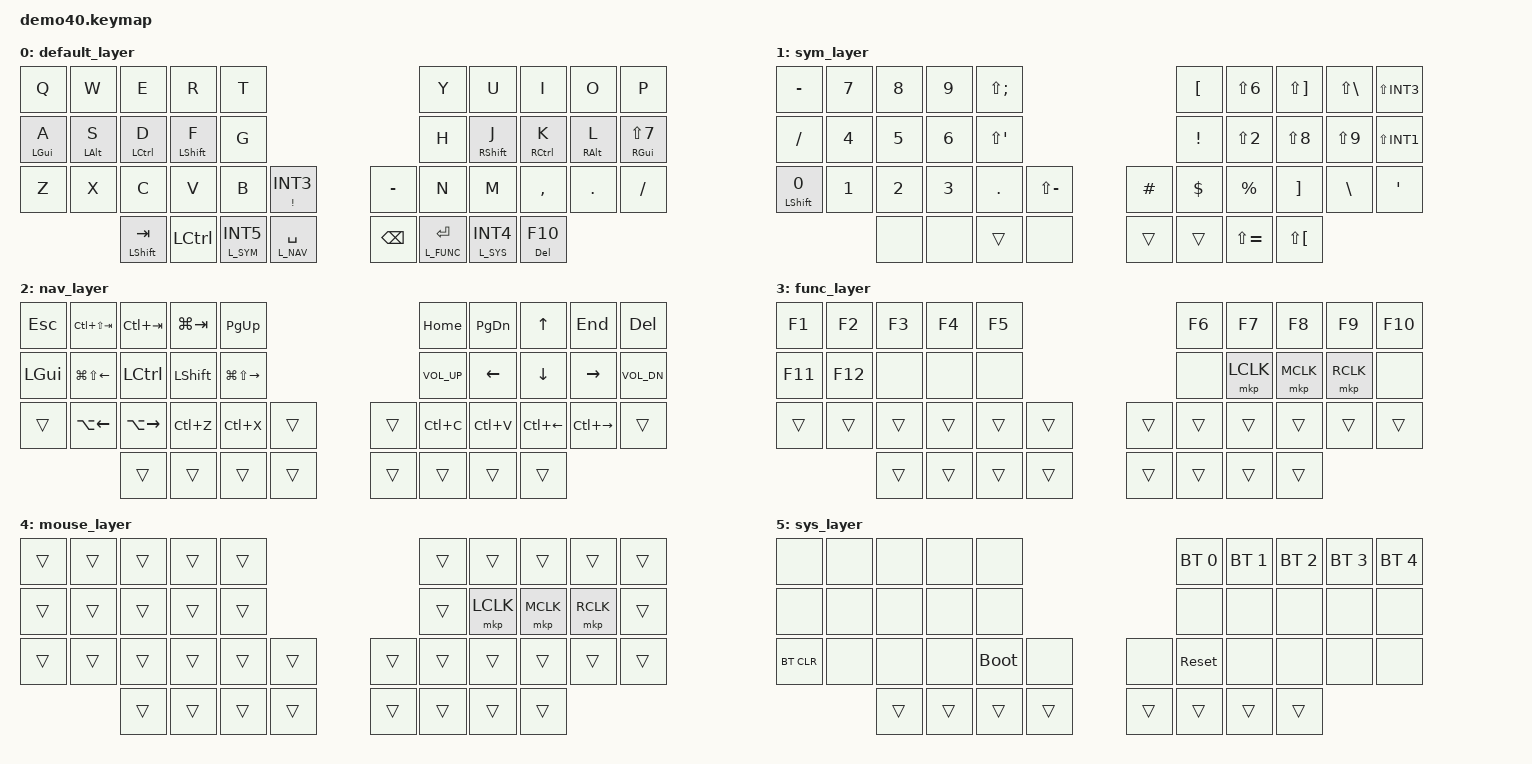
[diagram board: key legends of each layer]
/*
 * Demo keymap for the ZMK Keymap Overlay tests.
 * Written for this repository (MIT). The keyboard is made up: see boards/shields/demo40.
 *
 * It mixes the things real keymaps do, so the parser meets them together:
 * home-row mods, plain hold-taps, layer-taps with named layers, Japanese (JIS) aliases,
 * nested modifier functions, Bluetooth and boot keys, combos limited to a layer,
 * and a layer that no key enters (a pointing device turns it on).
 */

#include <behaviors.dtsi>
#include <dt-bindings/zmk/bt.h>
#include <dt-bindings/zmk/keys.h>
#include <dt-bindings/zmk/pointing.h>

#define L_BASE  0
#define L_SYM   1   // symbols and numbers  (thumb, pos 34)
#define L_NAV   2   // cursor and editing   (thumb, pos 35)
#define L_FUNC  3   // function keys        (thumb, pos 37)
#define L_MOUSE 4   // clicks; turned on by a pointing device, not by a key
#define L_SYS   5   // bluetooth and boot   (thumb, pos 38)

/* JIS: the keyboard sends US key positions; these are the keys that type each symbol on a JIS PC. */
#define JP_AT    LBKT
#define JP_LBKT  RBKT
#define JP_RBKT  BSLH
#define JP_COLON SQT
#define JP_YEN   INT3
#define JP_PLUS  LS(SEMI)
#define JP_ASTR  LS(SQT)
#define JP_DQT   LS(N2)
#define JP_AMPS  LS(N6)
#define JP_QUOT  LS(N7)
#define JP_LPAR  LS(N8)
#define JP_RPAR  LS(N9)
#define JP_EQUAL LS(MINUS)
#define JP_TILDE LS(EQUAL)
#define JP_GRAVE LS(LBKT)
#define JP_LBRC  LS(RBKT)
#define JP_RBRC  LS(BSLH)
#define JP_UNDER LS(INT1)
#define JP_PIPE  LS(INT3)

/* Key positions, for hold-trigger-key-positions. */
#define KEYS_L 0 1 2 3 4 10 11 12 13 14 20 21 22 23 24 25
#define KEYS_R 5 6 7 8 9 15 16 17 18 19 26 27 28 29 30 31
#define THUMBS 32 33 34 35 36 37 38 39

/ {
    behaviors {
        hml: home_row_mod_left {
            compatible = "zmk,behavior-hold-tap";
            #binding-cells = <2>;
            flavor = "balanced";
            tapping-term-ms = <280>;
            quick-tap-ms = <175>;
            require-prior-idle-ms = <150>;
            hold-trigger-key-positions = <KEYS_R THUMBS>;
            hold-trigger-on-release;
            bindings = <&kp>, <&kp>;
        };

        hmr: home_row_mod_right {
            compatible = "zmk,behavior-hold-tap";
            #binding-cells = <2>;
            flavor = "balanced";
            tapping-term-ms = <280>;
            quick-tap-ms = <175>;
            require-prior-idle-ms = <150>;
            hold-trigger-key-positions = <KEYS_L THUMBS>;
            hold-trigger-on-release;
            bindings = <&kp>, <&kp>;
        };

        htp: hold_tap_plain {
            compatible = "zmk,behavior-hold-tap";
            #binding-cells = <2>;
            flavor = "hold-preferred";
            tapping-term-ms = <200>;
            bindings = <&kp>, <&kp>;
        };
    };

    combos {
        compatible = "zmk,combos";

        combo_caps_word {
            timeout-ms = <50>;
            key-positions = <13 16>;
            bindings = <&caps_word>;
        };

        combo_esc {
            timeout-ms = <50>;
            key-positions = <21 22>;
            bindings = <&kp ESC>;
        };

        combo_left_bracket {
            timeout-ms = <50>;
            key-positions = <26 27>;
            bindings = <&kp JP_LBKT>;
            layers = <L_BASE>;
        };

        combo_right_bracket {
            timeout-ms = <50>;
            key-positions = <30 31>;
            bindings = <&kp JP_RBKT>;
            layers = <L_BASE>;
        };
    };

    keymap {
        compatible = "zmk,keymap";

        default_layer {
            bindings = <
&kp Q             &kp W             &kp E             &kp R             &kp T                                                     &kp Y             &kp U             &kp I             &kp O             &kp P
&hml LGUI A       &hml LALT S       &hml LCTRL D      &hml LSHFT F      &kp G                                                     &kp H             &hmr RSHFT J      &hmr RCTRL K      &hmr RALT L       &hmr RGUI JP_QUOT
&kp Z             &kp X             &kp C             &kp V             &kp B             &htp EXCLAMATION JP_YEN &kp MINUS         &kp N             &kp M             &kp COMMA         &kp DOT           &kp SLASH
                  &htp LSHFT TAB    &kp LCTRL         &lt L_SYM INT5    &lt L_NAV SPACE                                           &kp BACKSPACE     &lt L_FUNC ENTER  &lt L_SYS INT4    &htp DEL F10
            >;
        };

        sym_layer {
            bindings = <
&kp MINUS         &kp N7            &kp N8            &kp N9            &kp JP_PLUS                                               &kp JP_AT         &kp JP_AMPS       &kp JP_LBRC       &kp JP_RBRC       &kp JP_PIPE
&kp SLASH         &kp N4            &kp N5            &kp N6            &kp JP_ASTR                                               &kp EXCLAMATION   &kp JP_DQT        &kp JP_LPAR       &kp JP_RPAR       &kp JP_UNDER
&mt LSHFT N0      &kp N1            &kp N2            &kp N3            &kp DOT           &kp JP_EQUAL      &kp HASH          &kp DOLLAR        &kp PERCENT       &kp JP_LBKT       &kp JP_RBKT       &kp JP_COLON
                  &none             &none             &trans            &none                                                     &trans            &trans            &kp JP_TILDE      &kp JP_GRAVE
            >;
        };

        nav_layer {
            bindings = <
&kp ESC           &kp LC(LS(TAB))   &kp LC(TAB)       &kp LG(TAB)       &kp PG_UP                                                 &kp HOME          &kp PG_DN         &kp UP            &kp END           &kp DEL
&kp LGUI          &kp LG(LS(LEFT_ARROW)) &kp LCTRL         &kp LSHFT         &kp LG(LS(RIGHT_ARROW))                                         &kp C_VOL_UP      &kp LEFT          &kp DOWN          &kp RIGHT         &kp C_VOL_DN
&trans            &kp LA(LEFT_ARROW) &kp LA(RIGHT_ARROW) &kp LC(Z)         &kp LC(X)         &trans            &trans            &kp LC(C)         &kp LC(V)         &kp LC(LEFT)      &kp LC(RIGHT)     &trans
                  &trans            &trans            &trans            &trans                                                    &trans            &trans            &trans            &trans
            >;
        };

        func_layer {
            bindings = <
&kp F1            &kp F2            &kp F3            &kp F4            &kp F5                                                    &kp F6            &kp F7            &kp F8            &kp F9            &kp F10
&kp F11           &kp F12           &none             &none             &none                                                     &none             &mkp LCLK         &mkp MCLK         &mkp RCLK         &none
&trans            &trans            &trans            &trans            &trans            &trans            &trans            &trans            &trans            &trans            &trans            &trans
                  &trans            &trans            &trans            &trans                                                    &trans            &trans            &trans            &trans
            >;
        };

        mouse_layer {
            bindings = <
&trans            &trans            &trans            &trans            &trans                                                    &trans            &trans            &trans            &trans            &trans
&trans            &trans            &trans            &trans            &trans                                                    &trans            &mkp LCLK         &mkp MCLK         &mkp RCLK         &trans
&trans            &trans            &trans            &trans            &trans            &trans            &trans            &trans            &trans            &trans            &trans            &trans
                  &trans            &trans            &trans            &trans                                                    &trans            &trans            &trans            &trans
            >;
        };

        sys_layer {
            bindings = <
&none             &none             &none             &none             &none                                                     &bt BT_SEL 0      &bt BT_SEL 1      &bt BT_SEL 2      &bt BT_SEL 3      &bt BT_SEL 4
&none             &none             &none             &none             &none                                                     &none             &none             &none             &none             &none
&bt BT_CLR        &none             &none             &none             &bootloader       &none             &none             &sys_reset        &none             &none             &none             &none
                  &trans            &trans            &trans            &trans                                                    &trans            &trans            &trans            &trans
            >;
        };
    };
};
